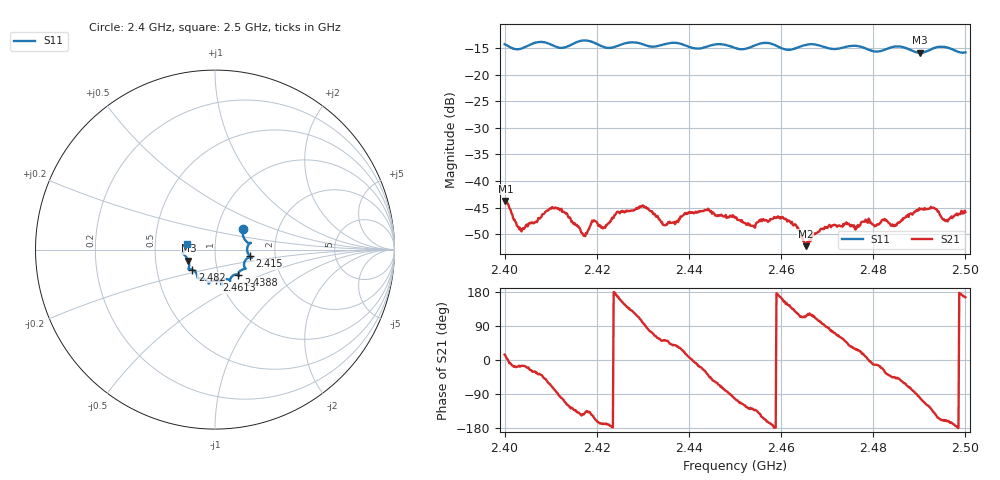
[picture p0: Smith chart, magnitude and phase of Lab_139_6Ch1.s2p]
# Hz S RI R 50
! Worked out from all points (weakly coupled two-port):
!   601 points, 2.4 GHz to 2.5 GHz, reference 50 ohm
!   highest |S21| = -43.73 dB at 2.4002 GHz (marker M1); lowest = -52.2 dB at 2.4653 GHz (marker M2)
!   lowest |S11| = -15.9 dB at 2.4902 GHz (marker M3), VSWR 1.38, Z = 36.8 - j4.63 ohm
!   |S11| at or under -10 dB: start of sweep to end of sweep
!   S12 and S22 are empty: the file has one direction only
!   S11 on the Smith chart (normalised r, x): 2.4 GHz: 1.33, +0.31; 2.415 GHz: 1.47, -0.11; 2.4388 GHz: 1.24, -0.36; 2.4613 GHz: 0.96, -0.34; 2.482 GHz: 0.76, -0.17; 2.5 GHz: 0.72, +0.05
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2.4e9  0.1572 0.1124  0.00627 0.00159  0 0  0 0
2.400167e9  0.1565 0.1102  0.00638 0.00131  0 0  0 0
2.403667e9  0.168 0.0533  0.00324 -0.000902  0 0  0 0
2.4105e9  0.1863 0.0267  0.00155 -0.00539  0 0  0 0
2.415e9  0.1927 -0.0363  -0.0026 -0.00296  0 0  0 0
2.416667e9  0.2038 -0.0441  -0.00272 -0.00181  0 0  0 0
2.429833e9  0.1609 -0.1084  -0.00104 0.00575  0 0  0 0
2.433333e9  0.1316 -0.1315  0.00241 0.00384  0 0  0 0
2.434833e9  0.1303 -0.1432  0.00234 0.00303  0 0  0 0
2.438833e9  0.1296 -0.1405  0.00443 0.0018  0 0  0 0
2.45e9  0.0687 -0.1646  -0.000979 -0.00451  0 0  0 0
2.453833e9  0.035 -0.1815  -0.00237 -0.00297  0 0  0 0
2.461333e9  0.00789 -0.1712  -0.00344 0.00233  0 0  0 0
2.465333e9  -0.034 -0.1875  -0.00108 0.00219  0 0  0 0
2.466667e9  -0.0348 -0.1903  -0.00139 0.00276  0 0  0 0
2.470833e9  -0.0519 -0.1673  0.000718 0.00361  0 0  0 0
2.482e9  -0.1259 -0.1118  0.004 -0.00164  0 0  0 0
2.483333e9  -0.1396 -0.1089  0.00311 -0.0026  0 0  0 0
2.490167e9  -0.1484 -0.0612  -0.000975 -0.00535  0 0  0 0
2.493333e9  -0.1771 -0.0246  -0.00427 -0.00352  0 0  0 0
2.495667e9  -0.1808 -0.0179  -0.00399 -0.00156  0 0  0 0
2.5e9  -0.1588 0.0327  -0.00495 0.00127  0 0  0 0
